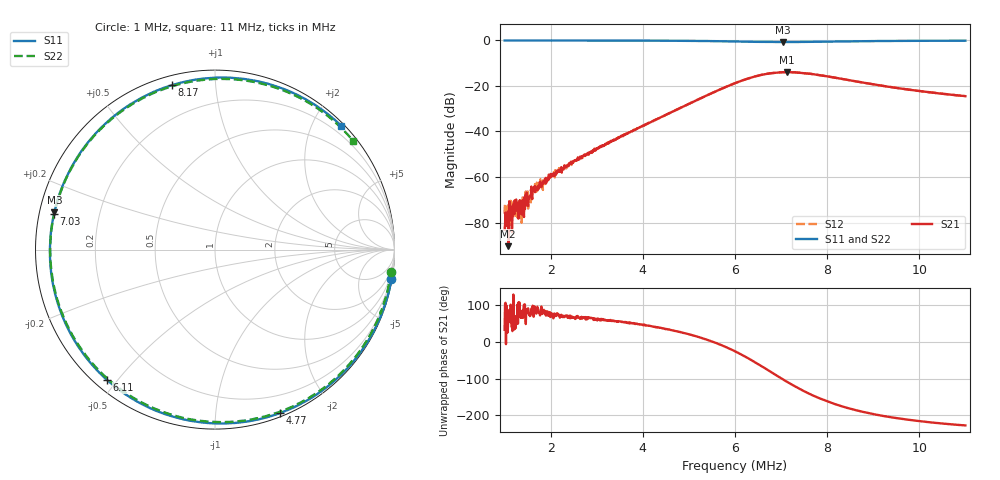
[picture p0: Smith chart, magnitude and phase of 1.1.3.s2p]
# MHz S DB R 50
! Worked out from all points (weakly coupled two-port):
!   1001 points, 1 MHz to 11 MHz, reference 50 ohm
!   highest |S21| = -13.93 dB at 7.12 MHz (marker M1); lowest = -90.4 dB at 1.08 MHz (marker M2)
!   lowest |S11| = -0.7 dB at 7.04 MHz (marker M3), VSWR 23.71, Z = 2.14 + j5.72 ohm
!   |S11| at or under -10 dB: nowhere
!   |S22| runs from -0.7 to -0.1 dB; largest |S21 - S12| = 0.0032
!   S11 on the Smith chart (normalised r, x): 1 MHz: 0, -12; 4.77 MHz: 0.03, -1.47; 6.11 MHz: 0.04, -0.47; 7.03 MHz: 0.04, +0.11; 8.17 MHz: 0.04, +0.77; 11 MHz: 0.05, +2.45
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1  -0.02 -9.6  -83.22 32.9  -76.09 -16.1  -0.11 -7.3
1.08  -0.03 -10.3  -90.39 66.6  -72.36 38.4  -0.11 -7.9
1.24  -0.03 -11.8  -71.59 37.3  -73.54 73.6  -0.11 -9.0
1.33  -0.04 -12.6  -70.24 69.5  -70.20 73.7  -0.11 -9.7
1.43  -0.03 -13.6  -69.03 72.1  -69.42 90.3  -0.11 -10.3
1.52  -0.03 -14.5  -68.97 77.6  -69.83 59.5  -0.11 -11.0
1.74  -0.04 -16.7  -65.19 80.1  -65.18 82.4  -0.11 -12.6
2.67  -0.05 -27.3  -51.83 68.4  -51.57 70.8  -0.08 -20.7
4.34  -0.12 -56.5  -34.28 39.1  -34.25 38.2  -0.15 -43.4
4.77  -0.18 -68.4  -30.06 27.5  -30.06 27.2  -0.18 -53.2
5.47  -0.31 -94.9  -23.42 2.5  -23.41 1.6  -0.28 -77.0
6  -0.47 -122.9  -18.79 -25.6  -18.80 -26.4  -0.44 -105.3
6.11  -0.51 -129.6  -17.95 -32.6  -17.94 -33.5  -0.48 -112.7
6.63  -0.68 -164.5  -14.90 -70.2  -14.91 -71.0  -0.69 -154.5
7.03  -0.73 167.6  -13.98 -101.2  -13.97 -102.0  -0.75 169.5
7.04  -0.73 166.9  -13.96 -101.9  -13.97 -102.8  -0.74 168.7
7.12  -0.73 161.6  -13.93 -107.9  -13.94 -108.8  -0.74 161.7
7.67  -0.61 128.3  -14.77 -144.4  -14.77 -145.3  -0.61 120.2
8.17  -0.47 104.6  -16.38 -169.2  -16.37 -170.0  -0.46 93.7
8.71  -0.35 85.5  -18.29 171.7  -18.30 170.8  -0.35 74.4
9.34  -0.25 69.4  -20.35 156.1  -20.37 155.3  -0.27 59.4
11  -0.13 44.4  -24.52 132.9  -24.51 131.9  -0.18 38.2
